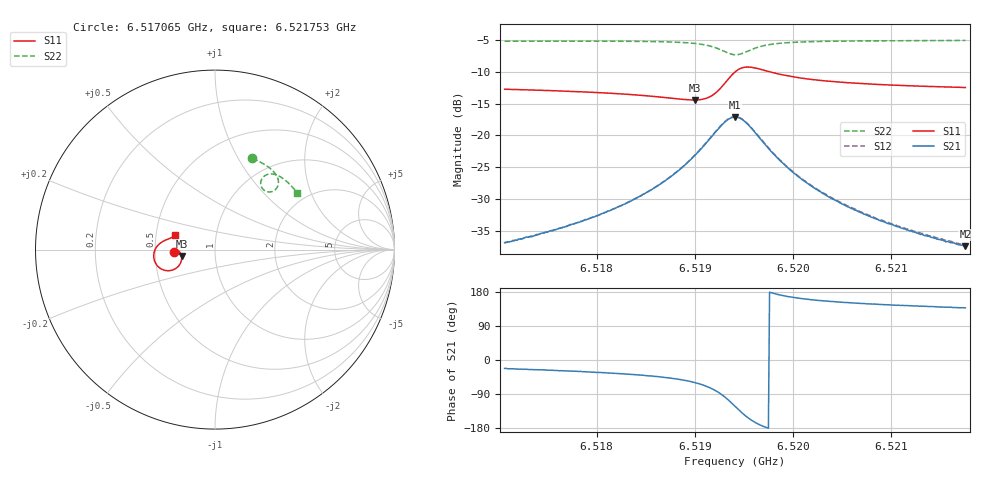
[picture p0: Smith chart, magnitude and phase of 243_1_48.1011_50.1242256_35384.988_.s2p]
#  HZ  S  RI  R  50.00
! Rohde & Schwarz Vector Network Analyzer
! Rohde-Schwarz,ZNB20-2Port,1311601062101988,3.16
! Created: UTC 12/23/2023, 3:58:59 AM
! freq[Hz]  re:S11  im:S11  re:S21  im:S21  re:S12  im:S12  re:S22  im:S22
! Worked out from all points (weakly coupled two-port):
!   401 points, 6.517065 GHz to 6.521753 GHz, reference 50 ohm
!   highest |S21| = -17.12 dB at 6.519409 GHz (marker M1); lowest = -37.4 dB at 6.521753 GHz (marker M2)
!   lowest |S11| = -14.4 dB at 6.518999 GHz (marker M3), VSWR 1.47, Z = 34.2 - j2.54 ohm
!   |S11| at or under -10 dB: start of sweep to 6.519412 GHz; 6.519758 GHz to end of sweep
!   |S22| runs from -7.3 to -5.1 dB; largest |S21 - S12| = 0.0044
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6.5170647e9  -0.2297 -0.0157  0.0133 -0.00544  0.0133 -0.00498  0.2077 0.5076
6.517346e9  -0.2267 -0.0115  0.0145 -0.00682  0.0148 -0.00639  0.2284 0.4989
6.5178499e9  -0.2198 -0.0056  0.0181 -0.0108  0.0186 -0.0101  0.2656 0.4801
6.518307e9  -0.2102 -0.00387  0.0235 -0.0178  0.024 -0.017  0.3 0.4581
6.5186352e9  -0.2002 -0.00873  0.0293 -0.0285  0.0301 -0.0277  0.3254 0.4357
6.5188344e9  -0.1922 -0.0184  0.0334 -0.0411  0.0349 -0.0403  0.3408 0.4164
6.5189985e9  -0.1861 -0.0357  0.0353 -0.0598  0.0372 -0.059  0.3514 0.3931
6.519104e9  -0.1861 -0.0554  0.0318 -0.0788  0.0346 -0.0784  0.3536 0.3716
6.519186e9  -0.1933 -0.0773  0.0222 -0.0985  0.0253 -0.0985  0.3486 0.3512
6.519315e9  -0.2363 -0.1137  -0.0217 -0.1273  -0.0182 -0.1289  0.315 0.3225
6.5194087e9  -0.2947 -0.1102  -0.0739 -0.118  -0.0709 -0.1211  0.2746 0.3299
6.5194673e9  -0.3249 -0.0856  -0.0982 -0.0932  -0.0962 -0.0968  0.258 0.3511
6.5195259e9  -0.3396 -0.0531  -0.1075 -0.0635  -0.1065 -0.0672  0.2548 0.3757
6.5196197e9  -0.3371 -0.0087  -0.1006 -0.0258  -0.1007 -0.0289  0.269 0.4045
6.5197252e9  -0.3205 0.021  -0.0831 -0.00305  -0.0836 -0.00548  0.2922 0.4187
6.5199478e9  -0.2893 0.0461  -0.0541 0.0121  -0.0549 0.0107  0.3313 0.4195
6.520194e9  -0.2688 0.0554  -0.037 0.0143  -0.0378 0.0133  0.3602 0.4082
6.5203815e9  -0.2585 0.0594  -0.0291 0.014  -0.03 0.0132  0.377 0.3976
6.520569e9  -0.2511 0.0625  -0.0239 0.0131  -0.0246 0.0127  0.3913 0.3867
6.5209792e9  -0.2391 0.0684  -0.0167 0.0114  -0.0172 0.0111  0.4176 0.3625
6.5213777e9  -0.2308 0.0739  -0.0125 0.0102  -0.013 0.00982  0.4398 0.3384
6.5217527e9  -0.2241 0.0789  -0.00995 0.00914  -0.0105 0.00904  0.4583 0.3149
